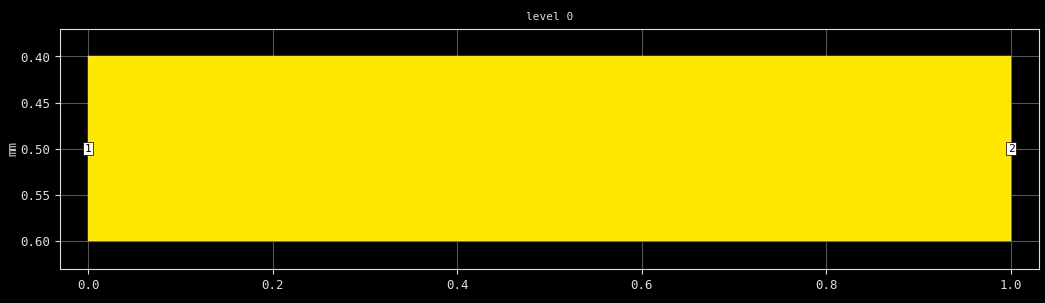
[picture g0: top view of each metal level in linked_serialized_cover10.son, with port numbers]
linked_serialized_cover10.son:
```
FTYP SONPROJ 19
DIM
ANG DEG
CAP PF
CON /OH
FREQ GHZ
IND NH
LNG MM
RES OH
END DIM
CONTROL
OPTIONS
SPEED 0
SUBSPLAM N 100
END CONTROL
GEO
STF mini.stf
TMET "SerializedCover" 0 SUP 10.0 0 0 0
BMET "SerializedCover" 0 SUP 10.0 0 0 0
BOX 0 1 1 40 40 100 0
POR1 BOX
POLY 1 1
3
1 50 0 0 0 0 .5
POR1 BOX
POLY 1 1
1
2 50 0 0 0 1 .5
NUM 1
0 5 -1 N 1 1 1 100 100 0 0 0 Y
0 .4
1 .4
1 .6
0 .6
0 .4
END
END GEO
VARSWP
ENABLED Y
FREQ Y AN SWEEP 1 10 9
END
END VARSWP
FILEOUT
TOUCH ND Y native.s2p IC 15 S RI R 50
FOLDER .
END FILEOUT
```
